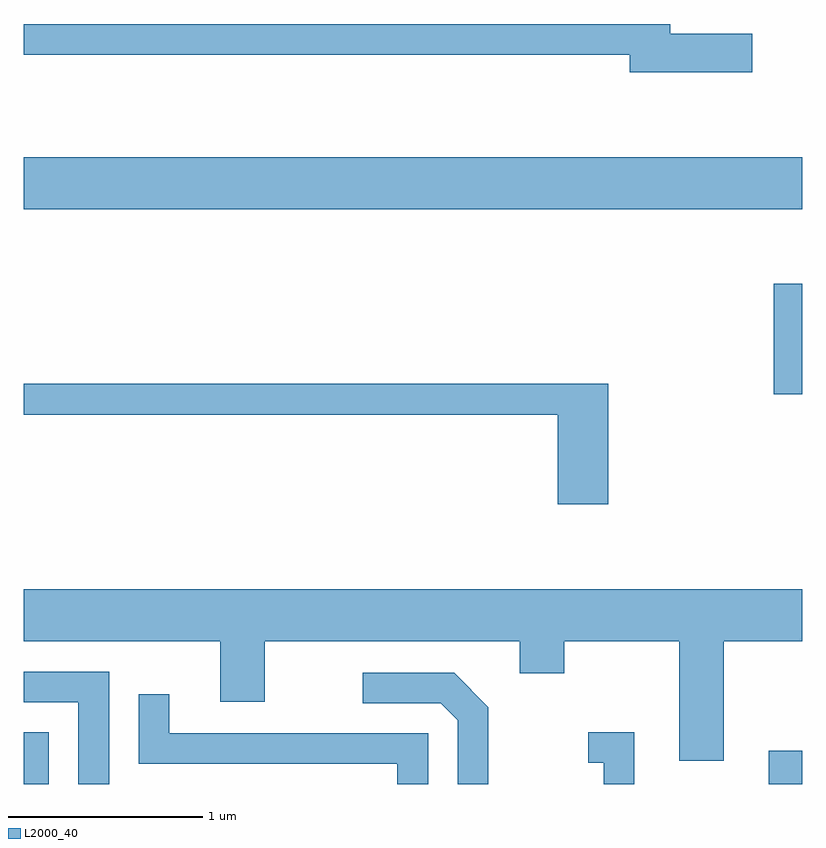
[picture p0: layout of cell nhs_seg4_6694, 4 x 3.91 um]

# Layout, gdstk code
import gdstk
lib = gdstk.Library(unit=1e-6, precision=1e-09)
def R(c, l, rs):  # rectangles x0, y0, x1, y1
    for r in rs: c.add(gdstk.rectangle(r[:2], r[2:], *l))
def P(c, l, *ps):  # polygons
    for p in ps: c.add(gdstk.Polygon(p, *l))
L2000_40 = (2000, 40)

nhs_seg4_6694 = lib.new_cell('nhs_seg4_6694')
R(nhs_seg4_6694, L2000_40, [(381.611,1313.982,381.739,1314.249), (385.441,1313.982,385.611,1314.154), (385.466,1315.986,385.611,1316.554), (381.611,1316.936,385.611,1317.204)])
P(nhs_seg4_6694, L2000_40, [(385.354,1317.839),(384.934,1317.839),(384.934,1317.889),(381.611,1317.889),(381.611,1317.731),(384.726,1317.731),(384.726,1317.641),(385.354,1317.641)],
  [(384.614,1316.039),(381.611,1316.039),(381.611,1315.881),(384.356,1315.881),(384.356,1315.421),(384.614,1315.421)],
  [(385.209,1314.716),(385.611,1314.716),(385.611,1314.984),(381.611,1314.984),(381.611,1314.716),(382.621,1314.716),(382.621,1314.406),(382.849,1314.406),(382.849,1314.716),(384.161,1314.716),(384.161,1314.551),(384.389,1314.551),(384.389,1314.716),(384.981,1314.716),(384.981,1314.101),(385.209,1314.101)],
  [(382.049,1314.559),(381.611,1314.559),(381.611,1314.401),(381.891,1314.401),(381.891,1313.982),(382.049,1313.982)],
  [(383.999,1314.377),(383.822,1314.554),(383.353,1314.554),(383.353,1314.396),(383.754,1314.396),(383.841,1314.309),(383.841,1313.982),(383.999,1313.982)],
  [(383.689,1314.244),(382.359,1314.244),(382.359,1314.443),(382.201,1314.443),(382.201,1314.086),(383.531,1314.086),(383.531,1313.982),(383.689,1313.982)],
  [(384.749,1314.249),(384.513,1314.249),(384.513,1314.091),(384.591,1314.091),(384.591,1313.982),(384.749,1313.982)])

lib.write_gds('nhs_seg4_6694.gds')
